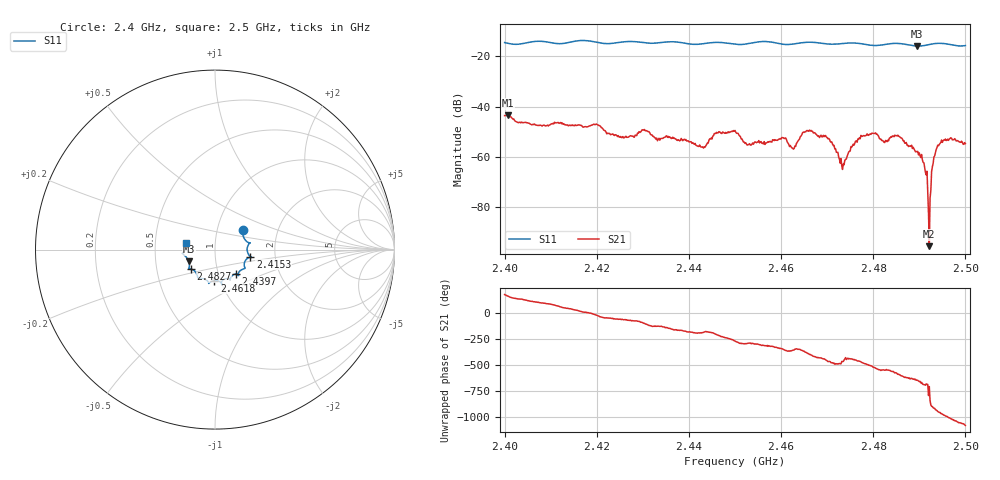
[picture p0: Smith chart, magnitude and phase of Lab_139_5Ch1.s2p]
# Hz S RI R 50
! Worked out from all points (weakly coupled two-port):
!   601 points, 2.4 GHz to 2.5 GHz, reference 50 ohm
!   highest |S21| = -43.47 dB at 2.4007 GHz (marker M1); lowest = -95.4 dB at 2.4922 GHz (marker M2)
!   lowest |S11| = -15.9 dB at 2.4895 GHz (marker M3), VSWR 1.38, Z = 37 - j5.02 ohm
!   |S11| at or under -10 dB: start of sweep to end of sweep
!   S12 and S22 are empty: the file has one direction only
!   S11 on the Smith chart (normalised r, x): 2.4 GHz: 1.33, +0.30; 2.4153 GHz: 1.48, -0.12; 2.4397 GHz: 1.21, -0.34; 2.4618 GHz: 0.94, -0.33; 2.4827 GHz: 0.75, -0.17; 2.5 GHz: 0.72, +0.06
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2.4e9  0.1549 0.1072  -0.00667 0.000121  0 0  0 0
2.400667e9  0.1548 0.0972  -0.00646 0.00181  0 0  0 0
2.415333e9  0.197 -0.0396  0.00375 0.00221  0 0  0 0
2.416667e9  0.2026 -0.0436  0.00412 0.00109  0 0  0 0
2.433333e9  0.1296 -0.134  -0.00131 -0.0018  0 0  0 0
2.439667e9  0.1168 -0.1359  -0.00209 4.43e-05  0 0  0 0
2.443167e9  0.0878 -0.1562  -0.0015 0.000154  0 0  0 0
2.45e9  0.0655 -0.162  7.46e-06 0.00338  0 0  0 0
2.453e9  0.0385 -0.176  0.000607 0.00166  0 0  0 0
2.461833e9  -0.00332 -0.173  0.0016 -0.000242  0 0  0 0
2.466667e9  -0.0347 -0.188  0.00222 -0.00238  0 0  0 0
2.47e9  -0.0479 -0.1701  -0.00046 -0.00239  0 0  0 0
2.473333e9  -0.0834 -0.1599  -0.00018 -0.000537  0 0  0 0
2.4775e9  -0.0975 -0.1491  -0.00115 -0.00231  0 0  0 0
2.482667e9  -0.1349 -0.1087  -0.0021 0.000421  0 0  0 0
2.483333e9  -0.1401 -0.1083  -0.00207 0.000385  0 0  0 0
2.4895e9  -0.146 -0.0661  0.000408 0.00121  0 0  0 0
2.491167e9  -0.1594 -0.0431  0.000545 0.000282  0 0  0 0
2.492167e9  -0.1693 -0.0329  1.67e-05 2.99e-06  0 0  0 0
2.493167e9  -0.1771 -0.0258  -0.000945 0.000319  0 0  0 0
2.494333e9  -0.1807 -0.0215  -0.000904 0.00153  0 0  0 0
2.5e9  -0.1597 0.0386  0.00184 -0.000177  0 0  0 0
